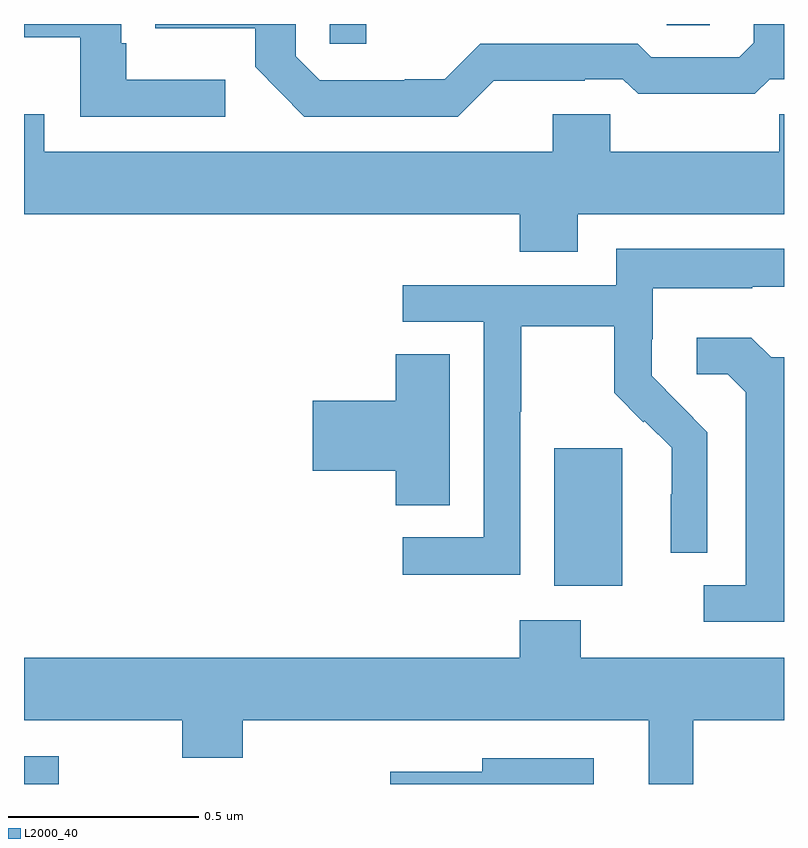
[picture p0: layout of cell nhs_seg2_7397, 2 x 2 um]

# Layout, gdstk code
import gdstk
lib = gdstk.Library(unit=1e-6, precision=1e-09)
def R(c, l, rs):  # rectangles x0, y0, x1, y1
    for r in rs: c.add(gdstk.rectangle(r[:2], r[2:], *l))
def P(c, l, *ps):  # polygons
    for p in ps: c.add(gdstk.Polygon(p, *l))
L2000_40 = (2000, 40)

nhs_seg2_7397 = lib.new_cell('nhs_seg2_7397')
R(nhs_seg2_7397, L2000_40, [(203,648.8,203.092,648.873), (204.395,649.322,204.574,649.683), (203.805,650.748,203.901,650.8), (204.692,650.797,204.804,650.8)])
P(nhs_seg2_7397, L2000_40, [(204.236,650.651),(204.476,650.651),(204.476,650.655),(204.576,650.655),(204.616,650.616),(204.923,650.616),(204.963,650.655),(205,650.655),(205,650.8),(204.921,650.8),(204.921,650.751),(204.882,650.712),(204.651,650.712),(204.615,650.748),(204.201,650.748),(204.107,650.654),(204.002,650.654),(204.002,650.652),(203.778,650.652),(203.715,650.715),(203.715,650.8),(203.346,650.8),(203.346,650.789),(203.608,650.789),(203.608,650.687),(203.738,650.556),(204.141,650.556)],
  [(203.53,650.653),(203.269,650.653),(203.269,650.749),(203.256,650.749),(203.256,650.8),(203,650.8),(203,650.765),(203.148,650.765),(203.148,650.556),(203.53,650.556)],
  [(204.457,650.3),(205,650.3),(205,650.562),(204.988,650.562),(204.988,650.464),(204.543,650.464),(204.543,650.562),(204.392,650.562),(204.392,650.464),(203.053,650.464),(203.053,650.563),(203,650.563),(203,650.3),(204.305,650.3),(204.305,650.201),(204.457,650.201)],
  [(204.306,649.78),(204.309,649.78),(204.309,650.004),(204.553,650.004),(204.553,649.829),(204.63,649.752),(204.633,649.755),(204.704,649.685),(204.704,649.562),(204.702,649.562),(204.702,649.408),(204.798,649.408),(204.798,649.726),(204.725,649.799),(204.726,649.8),(204.652,649.874),(204.652,649.971),(204.654,649.971),(204.654,650.105),(204.917,650.105),(204.917,650.109),(205,650.109),(205,650.209),(204.558,650.209),(204.558,650.112),(203.997,650.112),(203.997,650.016),(204.21,650.016),(204.21,649.449),(203.997,649.449),(203.997,649.351),(204.306,649.351)],
  [(205,649.923),(204.966,649.923),(204.914,649.975),(204.771,649.975),(204.771,649.878),(204.852,649.878),(204.899,649.831),(204.899,649.323),(204.789,649.323),(204.789,649.227),(205,649.227)],
  [(204.121,649.931),(203.978,649.931),(203.978,649.808),(203.76,649.808),(203.76,649.625),(203.978,649.625),(203.978,649.534),(204.121,649.534)],
  [(204.761,648.968),(205,648.968),(205,649.132),(204.465,649.132),(204.465,649.231),(204.305,649.231),(204.305,649.132),(203,649.132),(203,648.968),(203.416,648.968),(203.416,648.869),(203.576,648.869),(203.576,648.968),(204.644,648.968),(204.644,648.8),(204.761,648.8)],
  [(204.499,648.868),(204.206,648.868),(204.206,648.832),(203.964,648.832),(203.964,648.8),(204.499,648.8)])

lib.write_gds('nhs_seg2_7397.gds')
